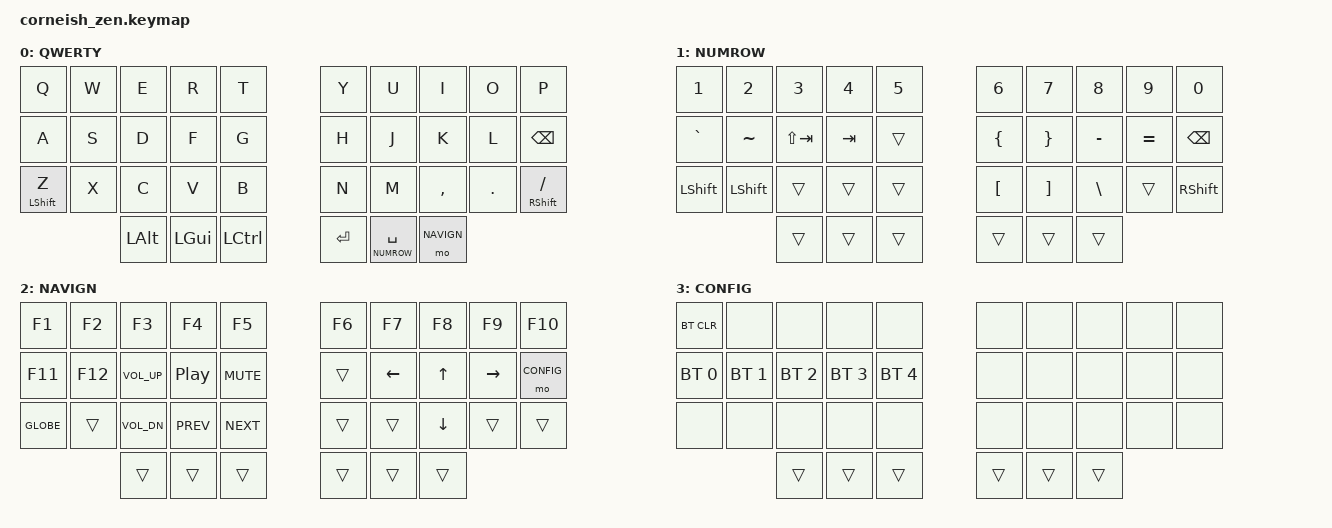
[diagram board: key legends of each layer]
#include <behaviors.dtsi>
#include <dt-bindings/zmk/keys.h>
#include <dt-bindings/zmk/bt.h>

#define QWERTY 0
#define NUMROW 1
#define NAVIGN 2
#define CONFIG 3

/ {
  chosen {
    zmk,physical-layout = &foostan_corne_5col_layout;
  };
};

/ {
  combos {
    compatible = "zmk,combos";

    combo_esc {
      timeout-ms = <40>;
      key-positions = <0 1>;
      bindings = <&kp ESC>;
    };
    combo_grave {
      timeout-ms = <40>;
      key-positions = <1 2>;
      bindings = <&kp GRAVE>;
    };
    combo_lpar {
      timeout-ms = <40>;
      key-positions = <6 7>;
      bindings = <&kp LPAR>;
    };
    combo_rpar {
      timeout-ms = <40>;
      key-positions = <7 8>;
      bindings = <&kp RPAR>;
    };
    combo_quot {
      timeout-ms = <40>;
      key-positions = <16 17>;
      bindings = <&kp QUOT>;
    };
    combo_tab {
      timeout-ms = <40>;
      key-positions = <10 11>;
      bindings = <&kp TAB>;
    };
    combo_semi {
      timeout-ms = <40>;
      key-positions = <17 18>;
      bindings = <&kp SEMI>;
    };
  };
};

/ {
  keymap {
    compatible = "zmk,keymap";

    default_layer {
      label = "QWERTY";
      bindings = <
        &kp Q        &kp W &kp E &kp R    &kp T                        &kp Y            &kp U       &kp I    &kp O   &kp P          
        &kp A        &kp S &kp D &kp F    &kp G                        &kp H            &kp J       &kp K    &kp L   &kp BSPC       
        &mt LSHIFT Z &kp X &kp C &kp V    &kp B                        &kp N            &kp M       &kp CMMA &kp DOT &mt RSHIFT FSLH
                                 &kp LALT &kp LGUI &kp LCTRL &kp ENTER &lt NUMROW SPACE &mo NAVIGN
      >;
    };

    numrow_layer {
      label = "NUMROW";
      bindings = < 
        &kp N1     &kp N2     &kp N3      &kp N4  &kp N5                   &kp N6   &kp N7   &kp N8    &kp N9      &kp N0    
        &kp GRAVE  &kp TILDE  &kp LS(TAB) &kp TAB &trans                   &kp LBRC &kp RBRC &kp MINUS &kp EQUAL   &kp BSPC  
        &kp LSHIFT &kp LSHIFT &trans      &trans  &trans                   &kp LBKT &kp RBKT &kp BSLH  &trans      &kp RSHIFT
        &trans &trans &trans  &trans &trans &trans
      >;
    };

    navigation_layer {
      label = "NAVIGN";
      bindings = < 
        &kp F1     &kp F2  &kp F3        &kp F4            &kp F5                   &kp F6   &kp F7   &kp F8    &kp F9    &kp F10   
        &kp F11    &kp F12 &kp C_VOL_UP  &kp C_PLAY_PAUSE  &kp K_MUTE               &trans   &kp LEFT &kp UP    &kp RIGHT &mo CONFIG
        &kp GLOBE  &trans  &kp C_VOL_DN  &kp C_PREV        &kp C_NEXT               &trans   &trans   &kp DOWN  &trans    &trans    
        &trans  &trans &trans    &trans &trans &trans
      >;
    };

    config_layer {
      label = "CONFIG";
      bindings = <
        &bt BT_CLR    &none         &none        &none        &none        &none &none &none &none &none
        &bt BT_SEL 0  &bt BT_SEL 1  &bt BT_SEL 2 &bt BT_SEL 3 &bt BT_SEL 4 &none &none &none &none &none
        &none         &none         &none        &none        &none        &none &none &none &none &none
        &trans &trans &trans  &trans &trans &trans
      >;
    };
  };
};
